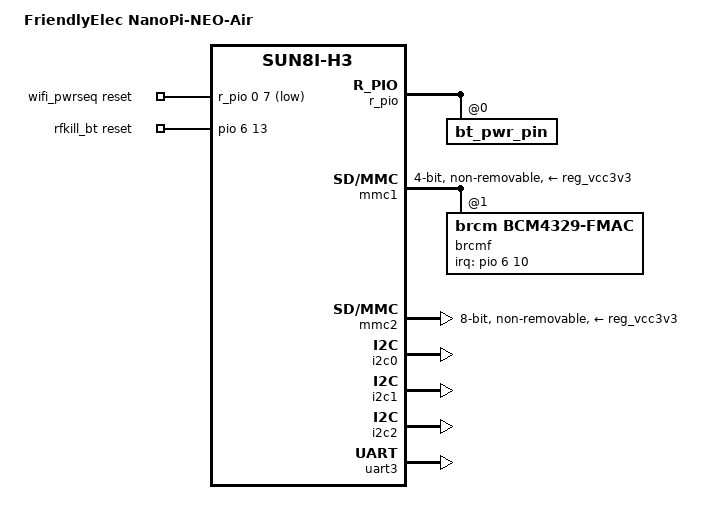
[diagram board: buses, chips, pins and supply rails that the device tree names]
/*
 * Copyright (C) 2016 James Pettigrew <james@innovum.com.au>
 *
 * This file is dual-licensed: you can use it either under the terms
 * of the GPL or the X11 license, at your option. Note that this dual
 * licensing only applies to this file, and not this project as a
 * whole.
 *
 *  a) This file is free software; you can redistribute it and/or
 *     modify it under the terms of the GNU General Public License as
 *     published by the Free Software Foundation; either version 2 of the
 *     License, or (at your option) any later version.
 *
 *     This file is distributed in the hope that it will be useful,
 *     but WITHOUT ANY WARRANTY; without even the implied warranty of
 *     MERCHANTABILITY or FITNESS FOR A PARTICULAR PURPOSE.  See the
 *     GNU General Public License for more details.
 *
 * Or, alternatively,
 *
 *  b) Permission is hereby granted, free of charge, to any person
 *     obtaining a copy of this software and associated documentation
 *     files (the "Software"), to deal in the Software without
 *     restriction, including without limitation the rights to use,
 *     copy, modify, merge, publish, distribute, sublicense, and/or
 *     sell copies of the Software, and to permit persons to whom the
 *     Software is furnished to do so, subject to the following
 *     conditions:
 *
 *     The above copyright notice and this permission notice shall be
 *     included in all copies or substantial portions of the Software.
 *
 *     THE SOFTWARE IS PROVIDED "AS IS", WITHOUT WARRANTY OF ANY KIND,
 *     EXPRESS OR IMPLIED, INCLUDING BUT NOT LIMITED TO THE WARRANTIES
 *     OF MERCHANTABILITY, FITNESS FOR A PARTICULAR PURPOSE AND
 *     NONINFRINGEMENT. IN NO EVENT SHALL THE AUTHORS OR COPYRIGHT
 *     HOLDERS BE LIABLE FOR ANY CLAIM, DAMAGES OR OTHER LIABILITY,
 *     WHETHER IN AN ACTION OF CONTRACT, TORT OR OTHERWISE, ARISING
 *     FROM, OUT OF OR IN CONNECTION WITH THE SOFTWARE OR THE USE OR
 *     OTHER DEALINGS IN THE SOFTWARE.
 */

#include "sun8i-h3-nanopi.dtsi"

/ {
	model = "FriendlyElec NanoPi-NEO-Air";
	compatible = "friendlyarm,nanopi-neo-air", "allwinner,sun8i-h3";

    wifi_pwrseq: wifi_pwrseq {
        compatible = "mmc-pwrseq-simple";
        pinctrl-names = "default";
        pinctrl-0 = <&wifi_en_npi>;
        reset-gpios = <&r_pio 0 7 GPIO_ACTIVE_LOW>; /* PL7 */
        post-power-on-delay-ms = <200>;
    };
    rfkill_bt {
        compatible = "rfkill-gpio";
        pinctrl-names = "default";
        pinctrl-0 = <&bt_pwr_pin>;
        reset-gpios = <&pio 6 13 GPIO_ACTIVE_HIGH>; /* PG13 */
        clocks = <&osc32k>;
        clock-frequency = <32768>;
        rfkill-name = "sunxi-bt";
        rfkill-type = "bluetooth";
    };
};

&r_pio {
    wifi_en_npi: wifi_en_pin {
        pins = "PL7";
        function = "gpio_out";
    };
    bt_pwr_pin: bt_pwr_pin@0 {
        pins = "PG13";
        function = "gpio_out";
    };
};

&mmc1 {
	pinctrl-names = "default";
	pinctrl-0 = <&mmc1_pins_a>;
	vmmc-supply = <&reg_vcc3v3>;
	vqmmc-supply = <&reg_vcc3v3>;
	mmc-pwrseq = <&wifi_pwrseq>;
	bus-width = <4>;
	non-removable;
	status = "okay";

	brcmf: bcrmf@1 {
		reg = <1>;
		compatible = "brcm,bcm4329-fmac";
		interrupt-parent = <&pio>;
		interrupts = <6 10 IRQ_TYPE_LEVEL_LOW>; /* PG10 / EINT10 */
		interrupt-names = "host-wake";
	};
};

&mmc2 {
    pinctrl-names = "default";
    pinctrl-0 = <&mmc2_8bit_pins>;
    vmmc-supply = <&reg_vcc3v3>;
    bus-width = <8>;
    non-removable;
    cap-mmc-hw-reset;
    status = "okay";
};

&mmc2_8bit_pins {
    /* Increase drive strength for DDR modes */
    drive-strength = <40>;
    /* eMMC is missing pull-ups */
    bias-pull-up;
};

&i2c0 {
    status = "okay";
};

&i2c1 {
    /* no I2C1 for I2S0 */
    status = "okay";
};

&i2c2 {
    status = "okay";
};

&uart3 {
    pinctrl-names = "default";
    pinctrl-0 = <&uart3_pins>, <&uart3_rts_cts_pins>;
    status = "okay";
};

&i2s0 {
    sound-dai = <&pcm5102a>;
    status = "disabled";
};
